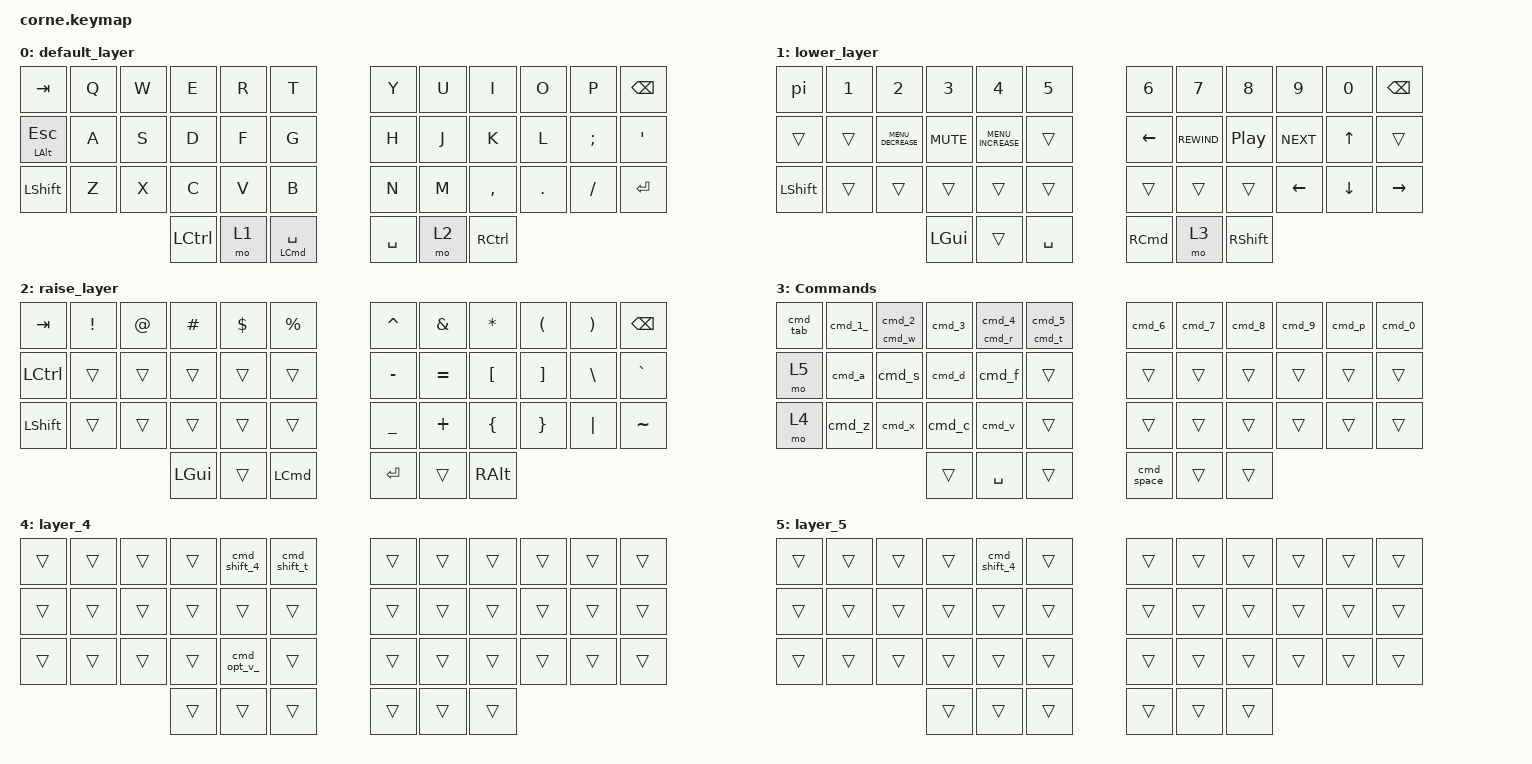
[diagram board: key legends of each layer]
/*
 * Copyright (c) 2020 The ZMK Contributors
 *
 * SPDX-License-Identifier: MIT
 */

#include <behaviors.dtsi>
#include <dt-bindings/zmk/keys.h>

/ {
    macros {
        cmd_shift_t: cmd_1 {
            compatible = "zmk,behavior-macro";
            #binding-cells = <0>;
            bindings = <&kt LEFT_COMMAND &kt LEFT_SHIFT &kt T &kt T &kt LEFT_SHIFT &kt LEFT_COMMAND>;
            label = "CMD_1";
        };

        cmd_shift_r: cmd_shift_r {
            compatible = "zmk,behavior-macro";
            #binding-cells = <0>;
            bindings = <&kt LEFT_COMMAND &kt LEFT_SHIFT &kt R &kt R &kt LEFT_SHIFT &kt LEFT_COMMAND>;
            label = "CMD_SHIFT_R";
        };

        cmd_a: cmd_a {
            compatible = "zmk,behavior-macro";
            #binding-cells = <0>;
            bindings = <&kt LEFT_COMMAND &kt A &kt A &kt LEFT_COMMAND>;
            label = "CMD_A";
        };

        cmd_s: cmd_s {
            compatible = "zmk,behavior-macro";
            #binding-cells = <0>;
            bindings = <&kt LEFT_COMMAND &kt S &kt S &kt LEFT_COMMAND>;
            label = "CMD_S";
        };

        cmd_f: cmd_f {
            compatible = "zmk,behavior-macro";
            #binding-cells = <0>;
            bindings = <&kt LEFT_COMMAND &kt F &kt F &kt LEFT_COMMAND>;
            label = "CMD_F";
        };

        cmd_d: cmd_d {
            compatible = "zmk,behavior-macro";
            #binding-cells = <0>;
            bindings = <&kt LEFT_COMMAND &kt D &kt D &kt LEFT_COMMAND>;
            label = "CMD_D";
        };

        cmd_z: cmd_z {
            compatible = "zmk,behavior-macro";
            #binding-cells = <0>;
            bindings = <&kt LEFT_COMMAND &kt Z &kt Z &kt LEFT_COMMAND>;
            label = "CMD_Z";
        };

        cmd_x: cmd_x {
            compatible = "zmk,behavior-macro";
            #binding-cells = <0>;
            bindings = <&kt LEFT_COMMAND &kt X &kt X &kt LEFT_COMMAND>;
            label = "CMD_X";
        };

        cmd_c: cmd_c {
            compatible = "zmk,behavior-macro";
            #binding-cells = <0>;
            bindings = <&kt LEFT_COMMAND &kt C &kt C &kt LEFT_COMMAND>;
            label = "CMD_C";
        };

        cmd_v: cmd_v {
            compatible = "zmk,behavior-macro";
            #binding-cells = <0>;
            bindings = <&kt LEFT_COMMAND &kt V &kt V &kt LEFT_COMMAND>;
            label = "CMD_V";
        };

        cmd_w: cmd_w {
            compatible = "zmk,behavior-macro";
            #binding-cells = <0>;
            bindings = <&kt LEFT_COMMAND &kt W &kt W &kt LEFT_COMMAND>;
            label = "CMD_W";
        };

        cmd_r: cmd_r {
            compatible = "zmk,behavior-macro";
            #binding-cells = <0>;
            bindings = <&kt LEFT_COMMAND &kt R &kt R &kt LEFT_COMMAND>;
            label = "CMD_R";
        };

        cmd_t: cmd_t {
            compatible = "zmk,behavior-macro";
            #binding-cells = <0>;
            bindings = <&kt LEFT_COMMAND &kt T &kt T &kt LEFT_COMMAND>;
            label = "CMD_T";
        };

        cmd_tab: cmd_tab {
            compatible = "zmk,behavior-macro";
            #binding-cells = <0>;
            bindings = <&kt LEFT_COMMAND &kt TAB &kt TAB &kt LEFT_COMMAND>;
            label = "CMD_TAB";
        };

        cmd_shift_4: cmd_shift_4 {
            compatible = "zmk,behavior-macro";
            #binding-cells = <0>;
            bindings = <&kt LEFT_COMMAND &kt LEFT_SHIFT &kt NUMBER_4 &kt NUMBER_4 &kt LEFT_SHIFT &kt LEFT_COMMAND>;
            label = "CMD_SHIFT_4";
        };

        cmd_opt_v: cmd_opt_v {
            compatible = "zmk,behavior-macro";
            #binding-cells = <0>;
            bindings = <&kt LEFT_COMMAND &kt LEFT_SHIFT &kt T &kt T &kt LEFT_SHIFT &kt LEFT_COMMAND>;
            label = "CMD_OPT_V";
        };

        cmd_2: cmd_2 {
            compatible = "zmk,behavior-macro";
            #binding-cells = <0>;
            bindings = <&kt LEFT_COMMAND &kt NUMBER_2 &kt NUMBER_2 &kt LEFT_COMMAND>;
            label = "CMD_2";
        };

        cmd_3: cmd_3 {
            compatible = "zmk,behavior-macro";
            #binding-cells = <0>;
            bindings = <&kt LEFT_COMMAND &kt NUMBER_3 &kt NUMBER_3 &kt LEFT_COMMAND>;
            label = "CMD_3";
        };

        cmd_4: cmd_4 {
            compatible = "zmk,behavior-macro";
            #binding-cells = <0>;
            bindings = <&kt LEFT_COMMAND &kt NUMBER_4 &kt NUMBER_4 &kt LEFT_COMMAND>;
            label = "CMD_4";
        };

        cmd_5: cmd_5 {
            compatible = "zmk,behavior-macro";
            #binding-cells = <0>;
            bindings = <&kt LEFT_COMMAND &kt N5 &kt N5 &kt LEFT_COMMAND>;
            label = "CMD_5";
        };

        cmd_6: cmd_6 {
            compatible = "zmk,behavior-macro";
            #binding-cells = <0>;
            bindings = <&kt LEFT_COMMAND &kt NUMBER_6 &kt NUMBER_6 &kt LEFT_COMMAND>;
            label = "CMD_6";
        };

        cmd_7: cmd_7 {
            compatible = "zmk,behavior-macro";
            #binding-cells = <0>;
            bindings = <&kt LEFT_COMMAND &kt N7 &kt N7 &kt LEFT_COMMAND>;
            label = "CMD_7";
        };

        cmd_8: cmd_8 {
            compatible = "zmk,behavior-macro";
            #binding-cells = <0>;
            bindings = <&kt LEFT_COMMAND &kt N8 &kt N8 &kt LEFT_COMMAND>;
            label = "CMD_8";
        };

        cmd_9: cmd_9 {
            compatible = "zmk,behavior-macro";
            #binding-cells = <0>;
            bindings = <&kt LEFT_COMMAND &kt N9 &kt N9 &kt LEFT_COMMAND>;
            label = "CMD_9";
        };

        cmd_0: cmd_0 {
            compatible = "zmk,behavior-macro";
            #binding-cells = <0>;
            bindings = <&kt LEFT_COMMAND &kt N0 &kt NUMBER_0 &kt LEFT_COMMAND>;
            label = "CMD_0";
        };

        cmd_1_: cmd_1_ {
            compatible = "zmk,behavior-macro";
            #binding-cells = <0>;
            bindings = <&kt LEFT_COMMAND &kt NUMBER_1 &kt NUMBER_1 &kt LEFT_COMMAND>;
            label = "CMD_1_";
        };

        cmd_opt_v_: cmd_opt_v_ {
            compatible = "zmk,behavior-macro";
            #binding-cells = <0>;
            bindings = <&kt LEFT_COMMAND &kt LEFT_ALT &kt V &kt V &kt LEFT_ALT &kt LEFT_COMMAND>;
            label = "CMD_OPT_V_";
        };

        cmd_p: cmd_p {
            compatible = "zmk,behavior-macro";
            #binding-cells = <0>;
            bindings = <&kt LEFT_COMMAND &kt P &kt P &kt LEFT_COMMAND>;
            label = "CMD_P";
        };

        pi: pi {
            compatible = "zmk,behavior-macro";
            #binding-cells = <0>;
            bindings = <&kp N3 &kp N1 &kp N4 &kp N1 &kp N5 &kp ENTER>;
            label = "PI";
        };

        cmd_space: cmd_space {
            compatible = "zmk,behavior-macro";
            #binding-cells = <0>;
            bindings = <&kt LEFT_COMMAND &kt SPACE &kt SPACE &kt LEFT_COMMAND>;
            label = "CMD_SPACE";
        };
    };

    behaviors {
        hold_tap: hold_tap {
            compatible = "zmk,behavior-hold-tap";
            label = "HOLD_TAP";
            bindings = <&kp>, <&kp>;

            #binding-cells = <2>;
            tapping-term-ms = <200>;
            hold-trigger-key-positions = <35>;
            hold-while-undecided;
        };

        hold_tap_layer: hold_tap_layer {
            compatible = "zmk,behavior-hold-tap";
            label = "HOLD_TAP_LAYER";
            bindings = <&mo>, <&kp>;

            #binding-cells = <2>;
            tapping-term-ms = <100>;
            hold-trigger-key-positions = <35>;
            hold-while-undecided;
        };

        hold_tap_2_w: hold_tap_2_w {
            compatible = "zmk,behavior-hold-tap";
            label = "HOLD_TAP_2_W";
            bindings = <&cmd_w>, <&cmd_2>;

            #binding-cells = <2>;
            hold-trigger-key-positions = <2>;
            tapping-term-ms = <100>;
        };

        hold_tap_4_r: hold_tap_4_r {
            compatible = "zmk,behavior-hold-tap";
            label = "HOLD_TAP_4_R";
            bindings = <&cmd_r>, <&cmd_4>;

            #binding-cells = <2>;
            hold-trigger-key-positions = <4>;
            tapping-term-ms = <100>;
        };

        hold_tap_5_t: hold_tap_5_t {
            compatible = "zmk,behavior-hold-tap";
            label = "HOLD_TAP_5_T";
            bindings = <&cmd_t>, <&cmd_5>;

            #binding-cells = <2>;
            tapping-term-ms = <100>;
            hold-trigger-key-positions = <5>;
        };

        hold_tap_tab_pi: hold_tap_tab_pi {
            compatible = "zmk,behavior-hold-tap";
            label = "HOLD_TAP_TAB_PI";
            bindings = <&pi>, <&kp>;

            #binding-cells = <2>;
            tapping-term-ms = <200>;
            hold-trigger-key-positions = <0>;
        };
    };

    combos { compatible = "zmk,combos"; };

    keymap {
        compatible = "zmk,keymap";

        default_layer {
            // -----------------------------------------------------------------------------------------
            // |  TAB |  Q  |  W  |  E  |  R  |  T  |   |  Y  |  U   |  I  |  O  |  P  | BSPC |
            // | CTRL |  A  |  S  |  D  |  F  |  G  |   |  H  |  J   |  K  |  L  |  ;  |  '   |
            // | SHFT |  Z  |  X  |  C  |  V  |  B  |   |  N  |  M   |  ,  |  .  |  /  | ESC  |
            //                    | GUI | LWR | SPC |   | ENT | RSE  | ALT |

            bindings = <
&kp TAB                    &kp Q  &kp W  &kp E             &kp R  &kp T                   &kp Y      &kp U  &kp I              &kp O    &kp P     &kp BSPC
&hold_tap LEFT_ALT ESCAPE  &kp A  &kp S  &kp D             &kp F  &kp G                   &kp H      &kp J  &kp K              &kp L    &kp SEMI  &kp SQT
&kp LSHFT                  &kp Z  &kp X  &kp C             &kp V  &kp B                   &kp N      &kp M  &kp COMMA          &kp DOT  &kp FSLH  &kp ENTER
                                         &kp LEFT_CONTROL  &mo 1  &hold_tap LCMD SPACE    &kp SPACE  &mo 2  &kp RIGHT_CONTROL
            >;
        };

        lower_layer {
            // -----------------------------------------------------------------------------------------
            // |  TAB |  1  |  2  |  3  |  4  |  5  |   |  6  |  7  |  8  |  9  |  0  | BSPC |
            // | BTCLR| BT1 | BT2 | BT3 | BT4 | BT5 |   | LFT | DWN |  UP | RGT |     |      |
            // | SHFT |     |     |     |     |     |   |     |     |     |     |     |      |
            //                    | GUI |     | SPC |   | ENT |     | ALT |

            bindings = <
&pi             &kp N1  &kp N2               &kp N3      &kp N4               &kp N5       &kp N6    &kp N7        &kp N8            &kp N9          &kp N0          &kp BSPC
&trans          &trans  &kp C_MENU_DECREASE  &kp K_MUTE  &kp C_MENU_INCREASE  &trans       &kp LEFT  &kp C_REWIND  &kp C_PLAY_PAUSE  &kp C_NEXT      &kp UP_ARROW    &trans
&kp LEFT_SHIFT  &trans  &trans               &trans      &trans               &trans       &trans    &trans        &trans            &kp LEFT_ARROW  &kp DOWN_ARROW  &kp RIGHT
                                             &kp LGUI    &trans               &kp SPACE    &kp RCMD  &mo 3         &kp RIGHT_SHIFT
            >;
        };

        raise_layer {
            // -----------------------------------------------------------------------------------------
            // |  TAB |  !  |  @  |  #  |  $  |  %  |   |  ^  |  &  |  *  |  (  |  )  | BSPC |
            // | CTRL |     |     |     |     |     |   |  -  |  =  |  [  |  ]  |  \  |  `   |
            // | SHFT |     |     |     |     |     |   |  _  |  +  |  {  |  }  | "|" |  ~   |
            //                    | GUI |     | SPC |   | ENT |     | ALT |

            bindings = <
&kp TAB    &kp EXCL  &kp AT  &kp HASH  &kp DLLR  &kp PRCNT    &kp CARET  &kp AMPS   &kp ASTRK  &kp LPAR  &kp RPAR  &kp BSPC
&kp LCTRL  &trans    &trans  &trans    &trans    &trans       &kp MINUS  &kp EQUAL  &kp LBKT   &kp RBKT  &kp BSLH  &kp GRAVE
&kp LSHFT  &trans    &trans  &trans    &trans    &trans       &kp UNDER  &kp PLUS   &kp LBRC   &kp RBRC  &kp PIPE  &kp TILDE
                             &kp LGUI  &trans    &kp LCMD     &kp RET    &trans     &kp RALT
            >;
        };

        Commands {
            bindings = <
&cmd_tab  &cmd_1_  &hold_tap_2_w 0 0  &cmd_3  &hold_tap_4_r 0 0  &hold_tap_5_t 0 0    &cmd_6      &cmd_7  &cmd_8  &cmd_9  &cmd_p  &cmd_0
&mo 5     &cmd_a   &cmd_s             &cmd_d  &cmd_f             &trans               &trans      &trans  &trans  &trans  &trans  &trans
&mo 4     &cmd_z   &cmd_x             &cmd_c  &cmd_v             &trans               &trans      &trans  &trans  &trans  &trans  &trans
                                      &trans  &kp SPACE          &trans               &cmd_space  &trans  &trans
            >;
        };

        layer_4 {
            bindings = <
&trans  &trans  &trans  &trans  &cmd_shift_4  &cmd_shift_t    &trans  &trans  &trans  &trans  &trans  &trans
&trans  &trans  &trans  &trans  &trans        &trans          &trans  &trans  &trans  &trans  &trans  &trans
&trans  &trans  &trans  &trans  &cmd_opt_v_   &trans          &trans  &trans  &trans  &trans  &trans  &trans
                        &trans  &trans        &trans          &trans  &trans  &trans
            >;
        };

        layer_5 {
            bindings = <
&trans  &trans  &trans  &trans  &cmd_shift_4  &trans    &trans  &trans  &trans  &trans  &trans  &trans
&trans  &trans  &trans  &trans  &trans        &trans    &trans  &trans  &trans  &trans  &trans  &trans
&trans  &trans  &trans  &trans  &trans        &trans    &trans  &trans  &trans  &trans  &trans  &trans
                        &trans  &trans        &trans    &trans  &trans  &trans
            >;
        };
    };
};
